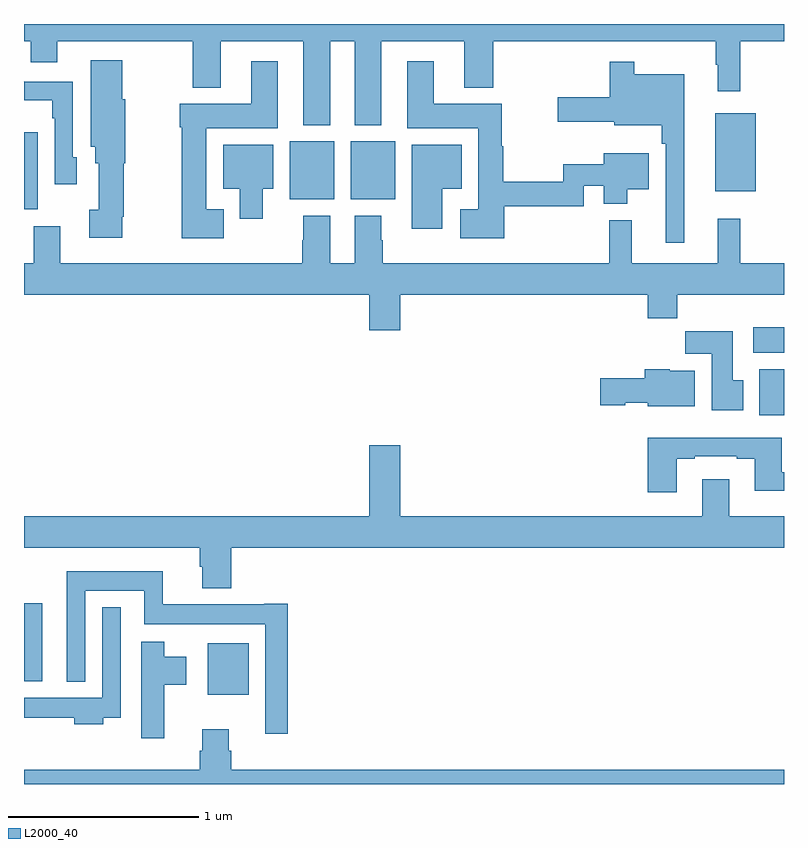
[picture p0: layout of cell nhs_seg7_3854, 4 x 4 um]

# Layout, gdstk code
import gdstk
lib = gdstk.Library(unit=1e-6, precision=1e-09)
def R(c, l, rs):  # rectangles x0, y0, x1, y1
    for r in rs: c.add(gdstk.rectangle(r[:2], r[2:], *l))
def P(c, l, *ps):  # polygons
    for p in ps: c.add(gdstk.Polygon(p, *l))
L2000_40 = (2000, 40)

nhs_seg7_3854 = lib.new_cell('nhs_seg7_3854')
R(nhs_seg7_3854, L2000_40, [(355.967,1038.47,356.182,1038.742), (355,1038.54,355.096,1038.951), (358.871,1039.94,359,1040.182), (358.839,1040.27,359,1040.404), (355,1041.025,355.072,1041.43), (356.399,1041.077,356.632,1041.382), (356.72,1041.077,356.953,1041.382), (358.637,1041.119,358.852,1041.529)])
P(nhs_seg7_3854, L2000_40, [(356.611,1041.908),(356.741,1041.908),(356.741,1041.467),(356.881,1041.467),(356.881,1041.908),(357.317,1041.908),(357.317,1041.665),(357.47,1041.665),(357.47,1041.908),(358.641,1041.908),(358.641,1041.785),(358.652,1041.785),(358.652,1041.645),(358.769,1041.645),(358.769,1041.908),(359,1041.908),(359,1042),(355,1042),(355,1041.908),(355.035,1041.908),(355.035,1041.798),(355.174,1041.798),(355.174,1041.908),(355.888,1041.908),(355.888,1041.665),(356.035,1041.665),(356.035,1041.908),(356.471,1041.908),(356.471,1041.467),(356.611,1041.467)],
  [(355.516,1040.986),(355.524,1040.986),(355.524,1041.267),(355.534,1041.267),(355.534,1041.603),(355.516,1041.603),(355.516,1041.808),(355.352,1041.808),(355.352,1041.354),(355.376,1041.354),(355.376,1041.267),(355.394,1041.267),(355.394,1041.022),(355.344,1041.022),(355.344,1040.874),(355.516,1040.874)],
  [(357.527,1041.042),(357.945,1041.042),(357.945,1041.15),(358.052,1041.15),(358.052,1041.053),(358.174,1041.053),(358.174,1041.131),(358.288,1041.131),(358.288,1041.319),(358.052,1041.319),(358.052,1041.261),(357.837,1041.261),(357.837,1041.17),(357.522,1041.17),(357.522,1041.356),(357.514,1041.356),(357.514,1041.58),(357.157,1041.58),(357.157,1041.805),(357.017,1041.805),(357.017,1041.452),(357.392,1041.452),(357.392,1041.025),(357.297,1041.025),(357.297,1040.873),(357.527,1040.873)],
  [(356.05,1041.025),(355.96,1041.025),(355.96,1041.452),(356.335,1041.452),(356.335,1041.805),(356.195,1041.805),(356.195,1041.58),(355.82,1041.58),(355.82,1041.456),(355.831,1041.456),(355.831,1040.873),(356.05,1040.873)],
  [(358.474,1041.736),(358.213,1041.736),(358.213,1041.802),(358.084,1041.802),(358.084,1041.615),(357.81,1041.615),(357.81,1041.485),(358.107,1041.485),(358.107,1041.467),(358.357,1041.467),(358.357,1041.371),(358.377,1041.371),(358.377,1040.85),(358.474,1040.85)],
  [(355.278,1041.3),(355.257,1041.3),(355.257,1041.696),(355.002,1041.696),(355,1041.698),(355,1041.599),(355.149,1041.599),(355.149,1041.503),(355.161,1041.503),(355.161,1041.156),(355.278,1041.156)],
  [(357.202,1041.134),(357.304,1041.134),(357.304,1041.364),(357.041,1041.364),(357.041,1040.922),(357.202,1040.922)],
  [(356.257,1041.134),(356.311,1041.134),(356.311,1041.364),(356.048,1041.364),(356.048,1041.134),(356.135,1041.134),(356.135,1040.976),(356.257,1040.976)],
  [(356.816,1040.388),(356.98,1040.388),(356.98,1040.576),(358.283,1040.576),(358.283,1040.452),(358.439,1040.452),(358.439,1040.576),(359,1040.576),(359,1040.74),(358.769,1040.74),(358.769,1040.974),(358.652,1040.974),(358.652,1040.74),(358.199,1040.74),(358.199,1040.968),(358.081,1040.968),(358.081,1040.74),(356.889,1040.74),(356.889,1040.861),(356.881,1040.861),(356.881,1040.992),(356.741,1040.992),(356.741,1040.74),(356.611,1040.74),(356.611,1040.992),(356.471,1040.992),(356.471,1040.861),(356.464,1040.861),(356.464,1040.74),(355.192,1040.74),(355.192,1040.935),(355.052,1040.935),(355.052,1040.74),(355,1040.74),(355,1040.576),(356.816,1040.576)],
  [(358.786,1040.124),(358.729,1040.124),(358.729,1040.382),(358.48,1040.382),(358.48,1040.264),(358.619,1040.264),(358.619,1039.968),(358.786,1039.968)],
  [(358.531,1040.176),(358.398,1040.176),(358.398,1040.182),(358.268,1040.182),(358.268,1040.136),(358.032,1040.136),(358.032,1039.994),(358.164,1039.994),(358.164,1040.006),(358.284,1040.006),(358.284,1039.988),(358.531,1039.988)],
  [(358.435,1039.713),(358.531,1039.713),(358.531,1039.725),(358.751,1039.725),(358.751,1039.713),(358.847,1039.713),(358.847,1039.544),(359,1039.544),(359,1039.641),(358.987,1039.641),(358.987,1039.822),(358.283,1039.822),(358.283,1039.536),(358.435,1039.536)],
  [(356.09,1039.244),(359,1039.244),(359,1039.408),(358.711,1039.408),(358.711,1039.603),(358.571,1039.603),(358.571,1039.408),(356.98,1039.408),(356.98,1039.783),(356.816,1039.783),(356.816,1039.408),(355,1039.408),(355,1039.244),(355.925,1039.244),(355.925,1039.143),(355.937,1039.143),(355.937,1039.031),(356.09,1039.031)],
  [(356.387,1038.949),(356.264,1038.949),(356.264,1038.946),(355.73,1038.946),(355.73,1039.12),(355.226,1039.12),(355.226,1038.539),(355.323,1038.539),(355.323,1039.016),(355.632,1039.016),(355.632,1038.842),(356.271,1038.842),(356.271,1038.264),(356.387,1038.264)],
  [(355.417,1038.348),(355.509,1038.348),(355.509,1038.931),(355.413,1038.931),(355.413,1038.454),(355,1038.454),(355,1038.35),(355.033,1038.35),(355.033,1038.348),(355.265,1038.348),(355.265,1038.314),(355.417,1038.314)],
  [(355.738,1038.523),(355.855,1038.523),(355.855,1038.67),(355.738,1038.67),(355.738,1038.748),(355.616,1038.748),(355.616,1038.24),(355.738,1038.24)],
  [(359,1038.076),(356.09,1038.076),(356.09,1038.174),(356.077,1038.174),(356.077,1038.289),(355.937,1038.289),(355.937,1038.174),(355.925,1038.174),(355.925,1038.076),(355,1038.076),(355,1038),(359,1038)])

lib.write_gds('nhs_seg7_3854.gds')
